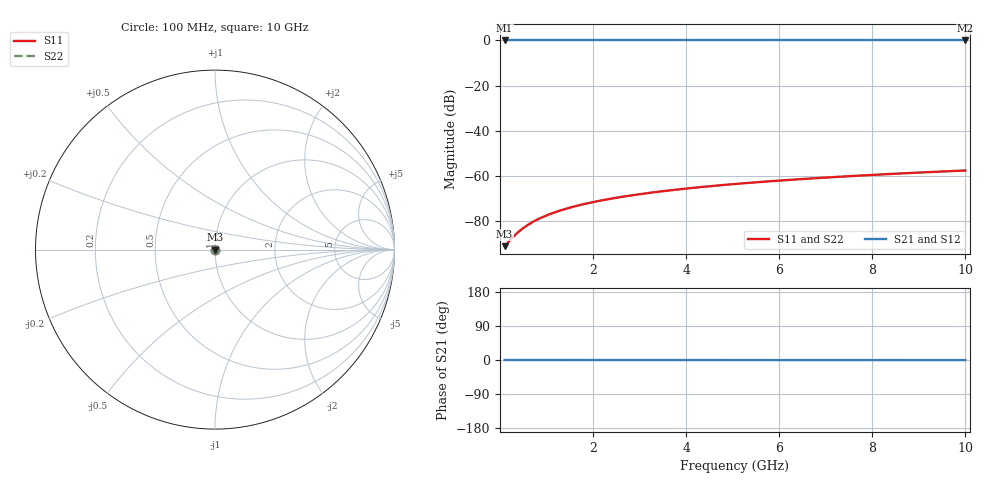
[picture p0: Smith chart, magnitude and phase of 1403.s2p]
# Hz S RI R 50.00
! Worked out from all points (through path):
!   100 points, 100 MHz to 10 GHz, reference 50 ohm
!   highest |S21| = 0.00 dB at 100 MHz (marker M1); lowest = 0.0 dB at 10 GHz (marker M2)
!   lowest |S11| = -91.0 dB at 100 MHz (marker M3), VSWR 1.00, Z = 50 + j0.00132 ohm
!   |S11| at or under -10 dB: start of sweep to end of sweep
!   |S22| runs from -91.0 to -57.5 dB; largest |S21 - S12| = 0
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1e8  2.48e-05 1.32e-05  1 -4.35e-05  1 -4.35e-05  2.48e-05 1.32e-05
7e8  2.54e-05 9.22e-05  1 -0.000304  1 -0.000304  2.54e-05 9.22e-05
8e8  2.54e-05 0.000105  1 -0.000348  1 -0.000348  2.54e-05 0.000105
9e8  2.55e-05 0.000119  1 -0.000391  1 -0.000391  2.55e-05 0.000119
1e9  2.55e-05 0.000132  1 -0.000435  1 -0.000435  2.55e-05 0.000132
1.2e9  2.56e-05 0.000158  1 -0.000522  1 -0.000522  2.56e-05 0.000158
1.3e9  2.57e-05 0.000171  1 -0.000565  1 -0.000565  2.57e-05 0.000171
1.5e9  2.58e-05 0.000198  1 -0.000652  1 -0.000652  2.58e-05 0.000198
1.8e9  2.59e-05 0.000237  1 -0.000783  1 -0.000783  2.59e-05 0.000237
2.1e9  2.6e-05 0.000277  1 -0.000914  1 -0.000914  2.6e-05 0.000277
2.5e9  2.62e-05 0.000329  1 -0.00109  1 -0.00109  2.62e-05 0.000329
2.9e9  2.64e-05 0.000382  1 -0.00126  1 -0.00126  2.64e-05 0.000382
3.4e9  2.67e-05 0.000448  1 -0.00148  1 -0.00148  2.67e-05 0.000448
3.8e9  2.69e-05 0.000501  1 -0.00165  1 -0.00165  2.69e-05 0.000501
4.2e9  2.72e-05 0.000554  1 -0.00183  1 -0.00183  2.72e-05 0.000554
4.6e9  2.74e-05 0.000606  1 -0.002  1 -0.002  2.74e-05 0.000606
5.1e9  2.78e-05 0.000672  1 -0.00222  1 -0.00222  2.78e-05 0.000672
5.9e9  2.84e-05 0.000778  1 -0.00257  1 -0.00257  2.84e-05 0.000778
6.7e9  2.91e-05 0.000885  1 -0.00292  1 -0.00292  2.91e-05 0.000885
7.5e9  2.99e-05 0.000991  1 -0.00328  1 -0.00328  2.99e-05 0.000991
8.4e9  3.08e-05 0.00111  1 -0.00367  1 -0.00367  3.08e-05 0.00111
1e10  3.28e-05 0.00133  1 -0.00438  1 -0.00438  3.28e-05 0.00133
